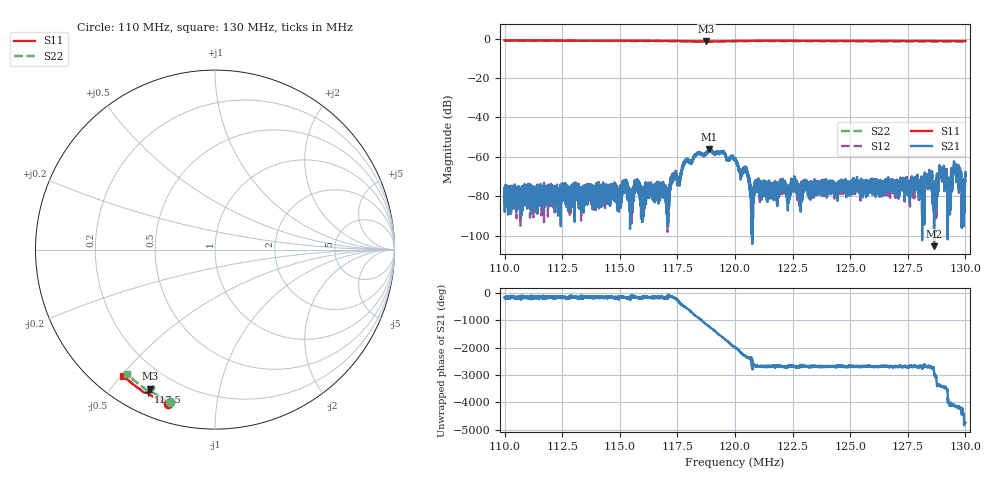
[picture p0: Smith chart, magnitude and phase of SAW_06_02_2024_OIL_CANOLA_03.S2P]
!Agilent Technologies,E5071C,MY46520923,B.12.03
!Date: Wed Feb 07 10:05:18 2024
!Data & Calibration Information:
!Freq	S11:SOLT2(ON)	S21:SOLT2(ON)	S12:SOLT2(ON)	S22:SOLT2(ON)
!PortZ  Port1:50+j0  Port2:50+j0
!Above PortZ is port z conversion or system Z0 setting when saving the data.
!When reading, reference impedance value at option line is always used.
# Hz S dB R 50
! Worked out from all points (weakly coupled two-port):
!   10000 points, 110 MHz to 130 MHz, reference 50 ohm
!   highest |S21| = -55.93 dB at 118.9 MHz (marker M1); lowest = -105.3 dB at 128.6 MHz (marker M2)
!   lowest |S11| = -1.4 dB at 118.8 MHz (marker M3), VSWR 12.69, Z = 5.53 - j31.6 ohm
!   |S11| at or under -10 dB: nowhere
!   |S22| runs from -1.5 to -1.1 dB; largest |S21 - S12| = 0.00018
!   S11 on the Smith chart (normalised r, x): 110 MHz: 0.08, -0.74; 117.5 MHz: 0.09, -0.63; 130 MHz: 0.09, -0.51
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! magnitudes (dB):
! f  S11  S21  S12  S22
! 110 MHz  -0.9  -78.8  -88.4  -1.1
! 113.3 MHz  -1.0  -85.5  -82.2  -1.1
! 116.7 MHz  -1.0  -78.5  -74.6  -1.2
! 117.1 MHz  -1.1  -83.1  -88.1  -1.3
! 117.5 MHz  -1.2  -70.4  -70.4  -1.3
! 117.9 MHz  -1.3  -61.4  -61.7  -1.4
! 118.8 MHz  -1.4  -58.3  -58.1  -1.5
! 118.9 MHz  -1.4  -55.9  -55.9  -1.5
! 120 MHz  -1.2  -61.3  -61.1  -1.3
! 120.5 MHz  -1.1  -67.7  -66.6  -1.2
! 120.8 MHz  -1.0  -88.0  -83.6  -1.2
! 121 MHz  -1.0  -71.9  -73.7  -1.2
! 123.3 MHz  -1.1  -75.0  -75.9  -1.3
! 126.7 MHz  -1.2  -75.7  -72.9  -1.4
! 128.1 MHz  -1.2  -81.6  -82.4  -1.4
! 128.5 MHz  -1.2  -71.4  -70.1  -1.4
! 128.6 MHz  -1.2  -105.3  -95.2  -1.4
! 129 MHz  -1.2  -68.3  -66.9  -1.4
! 129.3 MHz  -1.2  -74.7  -74.6  -1.4
! 129.6 MHz  -1.2  -65.4  -64.3  -1.4
! 129.9 MHz  -1.2  -74.7  -74.8  -1.4
! 130 MHz  -1.2  -67.8  -67.6  -1.4
